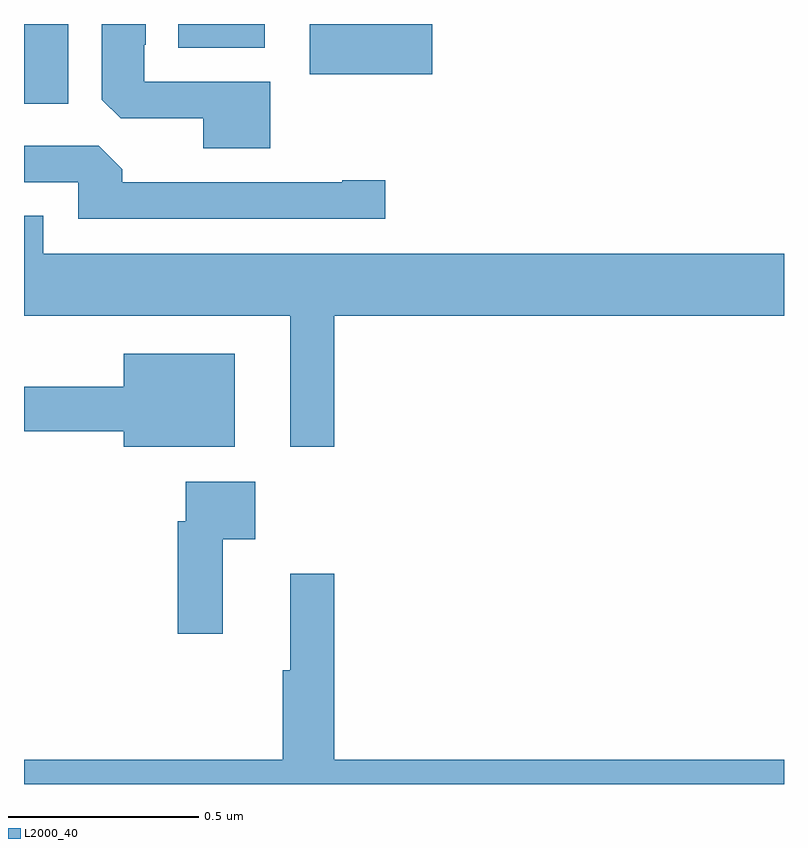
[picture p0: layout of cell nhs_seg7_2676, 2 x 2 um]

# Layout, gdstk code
import gdstk
lib = gdstk.Library(unit=1e-6, precision=1e-09)
def R(c, l, rs):  # rectangles x0, y0, x1, y1
    for r in rs: c.add(gdstk.rectangle(r[:2], r[2:], *l))
def P(c, l, *ps):  # polygons
    for p in ps: c.add(gdstk.Polygon(p, *l))
L2000_40 = (2000, 40)

nhs_seg7_2676 = lib.new_cell('nhs_seg7_2676')
R(nhs_seg7_2676, L2000_40, [(148,1051.79,148.117,1052), (148.752,1051.868,149.074,1052), (148.406,1051.937,148.633,1052)])
P(nhs_seg7_2676, L2000_40, [(148.648,1051.848),(148.317,1051.848),(148.317,1051.945),(148.321,1051.945),(148.321,1052),(148.205,1052),(148.205,1051.801),(148.254,1051.752),(148.472,1051.752),(148.472,1051.673),(148.648,1051.673)],
  [(148.951,1051.589),(148.838,1051.589),(148.838,1051.584),(148.259,1051.584),(148.259,1051.618),(148.197,1051.68),(148,1051.68),(148,1051.584),(148.143,1051.584),(148.143,1051.488),(148.951,1051.488)],
  [(148.817,1051.232),(150,1051.232),(150,1051.396),(148.051,1051.396),(148.051,1051.495),(148,1051.495),(148,1051.232),(148.7,1051.232),(148.7,1050.888),(148.817,1050.888)],
  [(148.555,1051.132),(148.262,1051.132),(148.262,1051.046),(148,1051.046),(148,1050.928),(148.262,1050.928),(148.262,1050.887),(148.555,1050.887)],
  [(148.523,1050.644),(148.609,1050.644),(148.609,1050.796),(148.425,1050.796),(148.425,1050.692),(148.405,1050.692),(148.405,1050.396),(148.523,1050.396)],
  [(150,1050.064),(148.817,1050.064),(148.817,1050.553),(148.7,1050.553),(148.7,1050.3),(148.681,1050.3),(148.681,1050.064),(148,1050.064),(148,1050),(150,1050)])

lib.write_gds('nhs_seg7_2676.gds')
